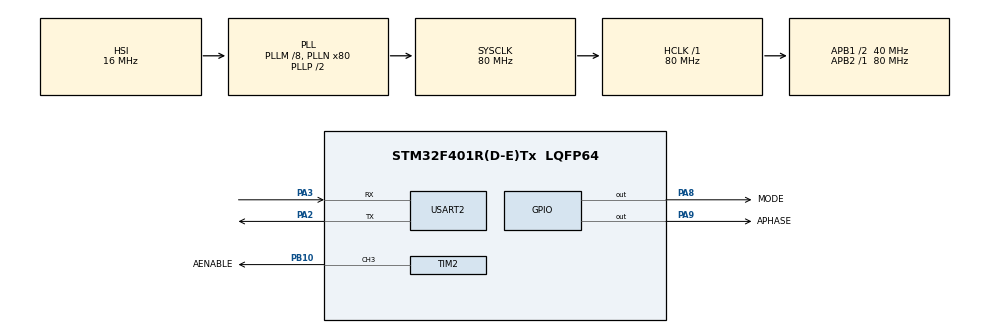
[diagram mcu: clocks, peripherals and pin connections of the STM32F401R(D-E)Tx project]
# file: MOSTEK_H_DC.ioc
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Mcu.Family=STM32F4
Mcu.Name=STM32F401R(D-E)Tx
Mcu.Package=LQFP64
NVIC.PriorityGroup=NVIC_PRIORITYGROUP_4
PA13.Mode=Serial_Wire
PA13.Signal=SYS_JTMS-SWDIO
PA14.Mode=Serial_Wire
PA14.Signal=SYS_JTCK-SWCLK
PA2.Mode=Asynchronous
PA2.Signal=USART2_TX
PA3.Mode=Asynchronous
PA3.Signal=USART2_RX
PA8.GPIO_Label=MODE
PA8.Signal=GPIO_Output
PA9.GPIO_Label=APHASE
PA9.Signal=GPIO_Output
PB10.GPIO_Label=AENABLE
PB10.Signal=S_TIM2_CH3
ProjectManager.HeapSize=0x200
ProjectManager.StackSize=0x400
ProjectManager.TargetToolchain=STM32CubeIDE
RCC.48MHZClocksFreq_Value=40000000
RCC.AHBFreq_Value=80000000
RCC.APB1CLKDivider=RCC_HCLK_DIV2
RCC.APB1Freq_Value=40000000
RCC.APB1TimFreq_Value=80000000
RCC.APB2Freq_Value=80000000
RCC.APB2TimFreq_Value=80000000
RCC.CortexFreq_Value=80000000
RCC.HCLKFreq_Value=80000000
RCC.HSE_VALUE=25000000
RCC.HSI_VALUE=16000000
RCC.LSE_VALUE=32768
RCC.PLLM=8
RCC.PLLN=80
RCC.SYSCLKFreq_VALUE=80000000
RCC.SYSCLKSource=RCC_SYSCLKSOURCE_PLLCLK
RCC.VCOOutputFreq_Value=160000000
SH.S_TIM2_CH3.0=TIM2_CH3,PWM Generation3 CH3
TIM2.Channel-PWM\ Generation3\ CH3=TIM_CHANNEL_3
TIM2.Period=100
TIM2.Prescaler=40
USART2.VirtualMode=VM_ASYNC
VP_TIM2_VS_ClockSourceINT.Mode=Internal
board=custom

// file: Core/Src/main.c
/* USER CODE BEGIN Header */
/**
  ******************************************************************************
  * @file           : main.c
  * @brief          : Main program body
  ******************************************************************************
  * @attention
  *
  * Copyright (c) 2023 STMicroelectronics.
  * All rights reserved.
  *
  * This software is licensed under terms that can be found in the LICENSE file
  * in the root directory of this software component.
  * If no LICENSE file comes with this software, it is provided AS-IS.
  *
  ******************************************************************************
  */
/* USER CODE END Header */
#include <L293D.h>
#include "main.h"
#include "tim.h"
#include "usart.h"
#include "gpio.h"

/* USER CODE BEGIN Includes */
#include "stdint.h"
#include "stdio.h"
#include "stdbool.h"
/* USER CODE END Includes */

void SystemClock_Config(void);

int main(void)
{

  /* MCU Configuration--------------------------------------------------------*/

  /* Reset of all peripherals, Initializes the Flash interface and the Systick. */
  HAL_Init();

  /* Configure the system clock */
  SystemClock_Config();

  /* Initialize all configured peripherals */
  MX_GPIO_Init();
  MX_TIM2_Init();
  MX_USART2_UART_Init();
  /* USER CODE BEGIN 2 */
  L293D_init();

  int pwm = 0, dir = CCW, inc_dec = 1;
  uint32_t time_tick = HAL_GetTick();

  L293D_set_motorA_direction(dir);
  L293D_set_motorA_speed(pwm);
  /* USER CODE END 2 */

  /* Infinite loop */
  /* USER CODE BEGIN WHILE */
  while (1)
  {
	  if((HAL_GetTick() - time_tick) > 20)
	  {
                  time_tick = HAL_GetTick();

		  pwm += inc_dec;
		  L293D_set_motorA_speed(pwm);

		  if(pwm >= 100)
		  {
			  inc_dec = -1;
		  }
		  else if(pwm <= 0)
		  {
			  inc_dec = 1;

			  if(dir == CCW)
				  dir = CW;
			  else if(dir == CW)
				  dir = CCW;

			  L293D_set_motorA_direction(dir);
		  }
	  }
    /* USER CODE END WHILE */

  }
}

void SystemClock_Config(void)
{
  RCC_OscInitTypeDef RCC_OscInitStruct = {0};
  RCC_ClkInitTypeDef RCC_ClkInitStruct = {0};

  /** Configure the main internal regulator output voltage
  */
  __HAL_RCC_PWR_CLK_ENABLE();
  __HAL_PWR_VOLTAGESCALING_CONFIG(PWR_REGULATOR_VOLTAGE_SCALE2);
  /** Initializes the RCC Oscillators according to the specified parameters
  * in the RCC_OscInitTypeDef structure.
  */
  RCC_OscInitStruct.OscillatorType = RCC_OSCILLATORTYPE_HSI;
  RCC_OscInitStruct.HSIState = RCC_HSI_ON;
  RCC_OscInitStruct.HSICalibrationValue = RCC_HSICALIBRATION_DEFAULT;
  RCC_OscInitStruct.PLL.PLLState = RCC_PLL_ON;
  RCC_OscInitStruct.PLL.PLLSource = RCC_PLLSOURCE_HSI;
  RCC_OscInitStruct.PLL.PLLM = 8;
  RCC_OscInitStruct.PLL.PLLN = 80;
  RCC_OscInitStruct.PLL.PLLP = RCC_PLLP_DIV2;
  RCC_OscInitStruct.PLL.PLLQ = 4;
  if (HAL_RCC_OscConfig(&RCC_OscInitStruct) != HAL_OK)
  {
    Error_Handler();
  }
  /** Initializes the CPU, AHB and APB buses clocks
  */
  RCC_ClkInitStruct.ClockType = RCC_CLOCKTYPE_HCLK|RCC_CLOCKTYPE_SYSCLK
                              |RCC_CLOCKTYPE_PCLK1|RCC_CLOCKTYPE_PCLK2;
  RCC_ClkInitStruct.SYSCLKSource = RCC_SYSCLKSOURCE_PLLCLK;
  RCC_ClkInitStruct.AHBCLKDivider = RCC_SYSCLK_DIV1;
  RCC_ClkInitStruct.APB1CLKDivider = RCC_HCLK_DIV2;
  RCC_ClkInitStruct.APB2CLKDivider = RCC_HCLK_DIV1;

  if (HAL_RCC_ClockConfig(&RCC_ClkInitStruct, FLASH_LATENCY_2) != HAL_OK)
  {
    Error_Handler();
  }
}

void Error_Handler(void)
{
  __disable_irq();
  while (1)
  {
  }
}
